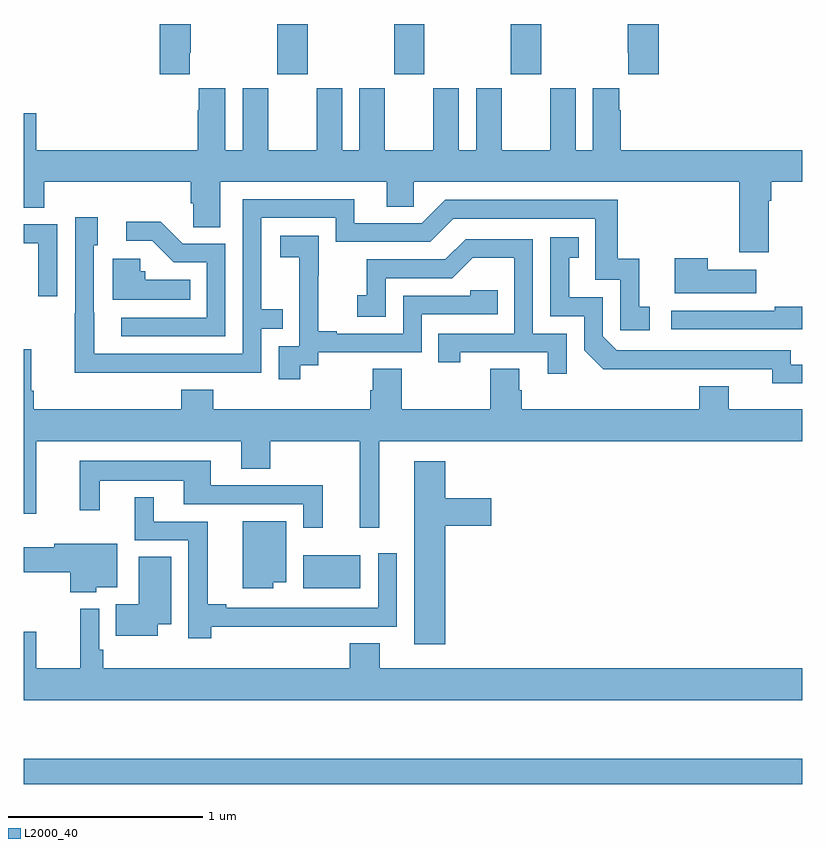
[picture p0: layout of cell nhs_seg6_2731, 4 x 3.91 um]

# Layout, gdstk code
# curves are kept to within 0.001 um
import gdstk
lib = gdstk.Library(unit=1e-6, precision=1e-09)
def R(c, l, rs):  # rectangles x0, y0, x1, y1
    for r in rs: c.add(gdstk.rectangle(r[:2], r[2:], *l))
def A(c, l, x, y, w, h, nx, ny, dx, dy):  # array of equal rectangles
    R(c, l, [(x+i*dx, y+j*dy, x+i*dx+w, y+j*dy+h) for i in range(nx) for j in range(ny)])
def P(c, l, *ps):  # polygons
    for p in ps: c.add(gdstk.Polygon(p, *l))
L2000_40 = (2000, 40)

nhs_seg6_2731 = lib.new_cell('nhs_seg6_2731')
A(nhs_seg6_2731, L2000_40, 274.303, 929.241, 0.155, 0.259, 3, 1, 0.6, 0)
R(nhs_seg6_2731, L2000_40, [(273,925.594,277,925.723), (274.436,926.6,274.729,926.77)])
P(nhs_seg6_2731, L2000_40, [(273.853,929.353),(273.858,929.353),(273.858,929.5),(273.698,929.5),(273.698,929.241),(273.853,929.241)],
  [(276.263,929.5),(276.103,929.5),(276.103,929.353),(276.107,929.353),(276.107,929.241),(276.263,929.241)],
  [(276.829,928.592),(276.842,928.592),(276.842,928.688),(277,928.688),(277,928.852),(276.068,928.852),(276.068,929.057),(276.061,929.057),(276.061,929.17),(275.924,929.17),(275.924,928.852),(275.836,928.852),(275.836,929.17),(275.705,929.17),(275.705,928.852),(275.455,928.852),(275.455,929.17),(275.324,929.17),(275.324,928.852),(275.236,928.852),(275.236,929.17),(275.105,929.17),(275.105,928.852),(274.855,928.852),(274.855,929.17),(274.724,929.17),(274.724,928.852),(274.636,928.852),(274.636,929.17),(274.505,929.17),(274.505,928.852),(274.255,928.852),(274.255,929.17),(274.124,929.17),(274.124,928.852),(274.036,928.852),(274.036,929.17),(273.899,929.17),(273.899,929.057),(273.893,929.057),(273.893,928.852),(273.064,928.852),(273.064,929.041),(273,929.041),(273,928.555),(273.104,928.555),(273.104,928.688),(273.857,928.688),(273.857,928.579),(273.87,928.579),(273.87,928.456),(274.009,928.456),(274.009,928.688),(274.865,928.688),(274.865,928.561),(275.004,928.561),(275.004,928.688),(276.677,928.688),(276.677,928.326),(276.829,928.326)],
  [(273.725,927.708),(274.221,927.708),(274.221,927.933),(274.331,927.933),(274.331,928.034),(274.221,928.034),(274.221,928.503),(274.602,928.503),(274.602,928.38),(275.088,928.38),(275.208,928.5),(275.937,928.5),(275.937,928.185),(276.066,928.185),(276.066,927.927),(276.217,927.927),(276.217,928.047),(276.164,928.047),(276.164,928.294),(276.053,928.294),(276.053,928.596),(275.166,928.596),(275.046,928.476),(274.699,928.476),(274.699,928.599),(274.125,928.599),(274.125,927.804),(273.361,927.804),(273.36,928.362),(273.379,928.362),(273.379,928.507),(273.264,928.507),(273.264,928.013),(273.262,928.013),(273.262,927.707)],
  [(274.035,928.371),(273.816,928.371),(273.703,928.484),(273.525,928.484),(273.525,928.386),(273.659,928.386),(273.77,928.275),(273.939,928.275),(273.939,927.99),(273.501,927.99),(273.501,927.894),(274.035,927.894)],
  [(273.171,928.47),(273,928.47),(273,928.374),(273.075,928.374),(273.075,928.101),(273.171,928.101)],
  [(274.42,927.745),(274.512,927.745),(274.512,927.813),(275.046,927.813),(275.046,928.008),(275.435,928.008),(275.435,928.131),(275.295,928.131),(275.295,928.104),(274.95,928.104),(274.95,927.909),(274.609,927.909),(274.609,927.922),(274.514,927.922),(274.514,928.205),(274.515,928.205),(274.515,928.411),(274.317,928.411),(274.317,928.301),(274.415,928.301),(274.415,928.073),(274.416,928.073),(274.416,927.843),(274.311,927.843),(274.311,927.675),(274.42,927.675)],
  [(277,927.75),(276.942,927.75),(276.942,927.822),(276.048,927.822),(275.976,927.894),(275.976,928.095),(275.803,928.095),(275.803,928.299),(275.852,928.299),(275.852,928.405),(275.706,928.405),(275.706,927.999),(275.88,927.999),(275.88,927.822),(275.978,927.725),(276.846,927.726),(276.846,927.653),(277,927.653)],
  [(275.79,927.909),(275.616,927.909),(275.616,928.395),(275.27,928.395),(275.165,928.29),(274.762,928.29),(274.762,928.105),(274.713,928.105),(274.713,927.996),(274.86,927.996),(274.86,928.194),(275.202,928.194),(275.306,928.298),(275.52,928.298),(275.52,927.909),(275.131,927.909),(275.131,927.762),(275.242,927.762),(275.242,927.813),(275.693,927.813),(275.693,927.702),(275.79,927.702)],
  [(276.763,928.237),(276.515,928.237),(276.515,928.297),(276.344,928.297),(276.344,928.115),(276.763,928.115)],
  [(273.854,928.186),(273.624,928.186),(273.624,928.23),(273.597,928.23),(273.597,928.294),(273.458,928.294),(273.458,928.082),(273.854,928.082)],
  [(277,928.046),(276.859,928.046),(276.859,928.026),(276.327,928.026),(276.327,927.93),(277,927.93)],
  [(274.826,927.356),(277,927.356),(277,927.52),(276.622,927.52),(276.622,927.637),(276.47,927.637),(276.47,927.52),(275.558,927.52),(275.558,927.618),(275.545,927.618),(275.545,927.728),(275.398,927.728),(275.398,927.52),(274.941,927.52),(274.941,927.728),(274.793,927.728),(274.793,927.618),(274.781,927.618),(274.781,927.52),(273.974,927.52),(273.974,927.619),(273.809,927.619),(273.809,927.52),(273.05,927.52),(273.05,927.616),(273.037,927.616),(273.037,927.829),(273,927.829),(273,926.982),(273.064,926.982),(273.064,927.356),(274.118,927.356),(274.118,927.214),(274.266,927.214),(274.266,927.356),(274.727,927.356),(274.727,926.91),(274.826,926.91)],
  [(274.535,927.129),(273.961,927.129),(273.961,927.256),(273.287,927.256),(273.287,927),(273.391,927),(273.391,927.152),(273.821,927.152),(273.821,927.033),(274.437,927.033),(274.437,926.91),(274.535,926.91)],
  [(275.165,926.921),(275.401,926.921),(275.401,927.063),(275.165,927.063),(275.165,927.253),(275.006,927.253),(275.006,926.313),(275.165,926.313)],
  [(273.962,926.402),(274.592,926.402),(274.592,926.403),(274.917,926.403),(274.917,926.779),(274.821,926.779),(274.821,926.499),(274.039,926.499),(274.039,926.519),(273.944,926.519),(273.944,926.943),(273.667,926.943),(273.667,927.067),(273.569,927.067),(273.569,926.847),(273.846,926.847),(273.846,926.343),(273.962,926.343)],
  [(274.282,926.63),(274.348,926.63),(274.348,926.944),(274.124,926.944),(274.124,926.6),(274.282,926.6)],
  [(273.372,926.606),(273.481,926.606),(273.481,926.83),(273.155,926.83),(273.155,926.812),(273,926.812),(273,926.683),(273.239,926.683),(273.239,926.579),(273.372,926.579)],
  [(273.688,926.414),(273.757,926.414),(273.757,926.762),(273.59,926.762),(273.59,926.518),(273.472,926.518),(273.472,926.357),(273.688,926.357)],
  [(277,926.188),(274.828,926.188),(274.828,926.318),(274.676,926.318),(274.676,926.188),(273.407,926.188),(273.407,926.284),(273.387,926.284),(273.387,926.494),(273.289,926.494),(273.289,926.188),(273.064,926.188),(273.064,926.377),(273,926.377),(273,926.024),(277,926.024)])

lib.write_gds('nhs_seg6_2731.gds')
